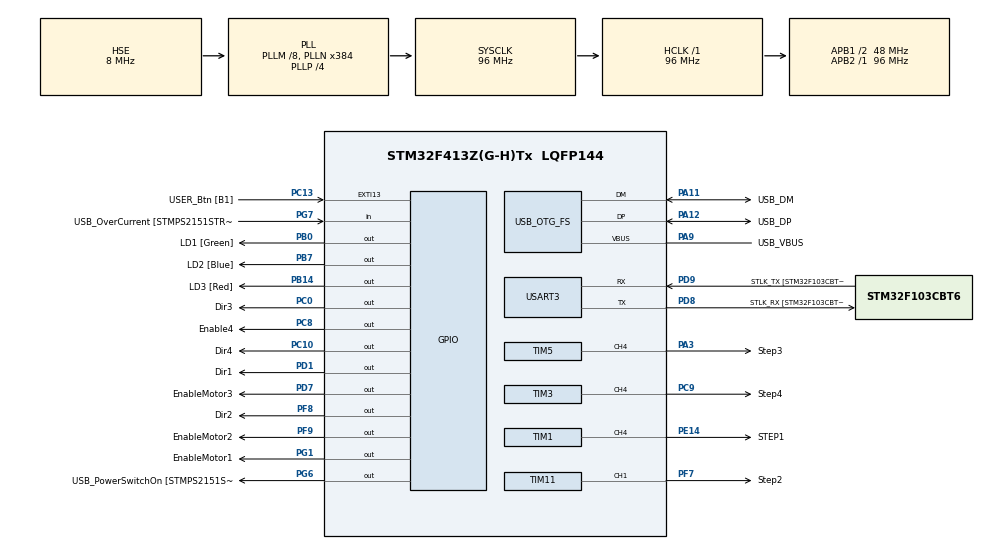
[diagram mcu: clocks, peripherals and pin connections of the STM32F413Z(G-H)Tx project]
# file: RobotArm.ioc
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FREERTOS.Events01=stepperTrigger,Dynamic,NULL
FREERTOS.Queues01=rxQueue,16,uint16_t,0,Dynamic,NULL,NULL;gamepadChangesQueue,32,int,0,Dynamic,NULL,NULL
FREERTOS.Tasks01=defaultTask,24,1024,StartDefaultTask,Default,NULL,Dynamic,NULL,NULL;UartRx,8,128,uartRxDataManagement,Default,NULL,Dynamic,NULL,NULL;controlMotor1,8,128,controlMotor1Task,Default,NULL,Dynamic,NULL,NULL;controlMotor2,8,128,controlMotor2Task,Default,NULL,Dynamic,NULL,NULL;controlMotor3,8,128,controlMotor3Task,Default,NULL,Dynamic,NULL,NULL;controlMotor4,8,128,controlMotor4Task,Default,NULL,Dynamic,NULL,NULL;inputChangeTask,8,128,StartInputChangeTask,Default,NULL,Dynamic,NULL,NULL
FREERTOS.configUSE_NEWLIB_REENTRANT=1
Mcu.Family=STM32F4
Mcu.Name=STM32F413Z(G-H)Tx
Mcu.Package=LQFP144
NVIC.OTG_FS_IRQn=true\:6\:0\:true\:false\:true\:true\:false\:true\:true
NVIC.PriorityGroup=NVIC_PRIORITYGROUP_4
NVIC.TIM1_TRG_COM_TIM11_IRQn=true\:5\:0\:false\:false\:true\:true\:true\:true\:true
NVIC.TIM2_IRQn=true\:15\:0\:false\:false\:true\:false\:false\:true\:true
NVIC.TIM3_IRQn=true\:5\:0\:false\:false\:true\:true\:true\:true\:true
NVIC.TIM5_IRQn=true\:5\:0\:false\:false\:true\:true\:true\:true\:true
NVIC.TimeBase=TIM2_IRQn
NVIC.TimeBaseIP=TIM2
NVIC.USART3_IRQn=true\:5\:0\:false\:false\:true\:true\:true\:true\:true
PA10.GPIO_Label=USB_ID
PA10.Signal=USB_OTG_FS_ID
PA11.GPIO_Label=USB_DM
PA11.Mode=Host_Only
PA11.Signal=USB_OTG_FS_DM
PA12.GPIO_Label=USB_DP
PA12.Mode=Host_Only
PA12.Signal=USB_OTG_FS_DP
PA13.GPIO_Label=TMS
PA13.Mode=Serial_Wire
PA13.Signal=SYS_JTMS-SWDIO
PA14.GPIO_Label=TCK
PA14.Mode=Serial_Wire
PA14.Signal=SYS_JTCK-SWCLK
PA3.GPIO_Label=Step3
PA3.Signal=S_TIM5_CH4
PA8.GPIO_Label=USB_SOF [TP1]
PA8.Signal=USB_OTG_FS_SOF
PA9.GPIO_Label=USB_VBUS
PA9.Mode=Activate_VBUS
PA9.Signal=USB_OTG_FS_VBUS
PB0.GPIO_Label=LD1 [Green]
PB0.Signal=GPIO_Output
PB14.GPIO_Label=LD3 [Red]
PB14.Signal=GPIO_Output
PB3.GPIO_Label=SWO
PB3.Signal=SYS_JTDO-SWO
PB7.GPIO_Label=LD2 [Blue]
PB7.Signal=GPIO_Output
PC0.GPIO_Label=Dir3
PC0.Signal=GPIO_Output
PC10.GPIO_Label=Dir4
PC10.Signal=GPIO_Output
PC13.GPIO_Label=USER_Btn [B1]
PC13.Signal=GPXTI13
PC14-OSC32_IN.Mode=LSE-External-Oscillator
PC14-OSC32_IN.Signal=RCC_OSC32_IN
PC15-OSC32_OUT.Mode=LSE-External-Oscillator
PC15-OSC32_OUT.Signal=RCC_OSC32_OUT
PC8.GPIO_Label=Enable4
PC8.Signal=GPIO_Output
PC9.GPIO_Label=Step4
PC9.Signal=S_TIM3_CH4
PD1.GPIO_Label=Dir1
PD1.Signal=GPIO_Output
PD7.GPIO_Label=EnableMotor3
PD7.Signal=GPIO_Output
PD8.GPIO_Label=STLK_RX [STM32F103CBT6_PA3]
PD8.Mode=Asynchronous
PD8.Signal=USART3_TX
PD9.GPIO_Label=STLK_TX [STM32F103CBT6_PA2]
PD9.Mode=Asynchronous
PD9.Signal=USART3_RX
PE14.GPIO_Label=STEP1
PE14.Signal=S_TIM1_CH4
PF7.GPIO_Label=Step2
PF7.Signal=S_TIM11_CH1
PF8.GPIO_Label=Dir2
PF8.Signal=GPIO_Output
PF9.GPIO_Label=EnableMotor2
PF9.Signal=GPIO_Output
PG1.GPIO_Label=EnableMotor1
PG1.Signal=GPIO_Output
PG6.GPIO_Label=USB_PowerSwitchOn [STMPS2151STR_EN]
PG6.Signal=GPIO_Output
PG7.GPIO_Label=USB_OverCurrent [STMPS2151STR_FAULT]
PG7.Signal=GPIO_Input
PH0\ -\ OSC_IN.GPIO_Label=MCO
PH0\ -\ OSC_IN.Mode=HSE-External-Clock-Source
PH0\ -\ OSC_IN.Signal=RCC_OSC_IN
PH1\ -\ OSC_OUT.Mode=HSE-External-Clock-Source
PH1\ -\ OSC_OUT.Signal=RCC_OSC_OUT
ProjectManager.HeapSize=0x200
ProjectManager.StackSize=0x400
ProjectManager.TargetToolchain=STM32CubeIDE
RCC.48MHZClocksFreq_Value=24000000
RCC.AHBFreq_Value=96000000
RCC.APB1CLKDivider=RCC_HCLK_DIV2
RCC.APB1Freq_Value=48000000
RCC.APB1TimFreq_Value=96000000
RCC.APB2Freq_Value=96000000
RCC.APB2TimFreq_Value=96000000
RCC.CortexFreq_Value=96000000
RCC.HCLKFreq_Value=96000000
RCC.HSE_VALUE=8000000
RCC.HSI_VALUE=16000000
RCC.PLLM=8
RCC.PLLMUL=RCC_PLL_MUL9
RCC.PLLN=384
RCC.PLLP=RCC_PLLP_DIV4
RCC.PLLQ=8
RCC.PRESCALERUSB=RCC_USBCLKSOURCE_PLL_DIV1_5
RCC.SYSCLKFreq_VALUE=96000000
RCC.SYSCLKSource=RCC_SYSCLKSOURCE_PLLCLK
RCC.SYSCLKSourceVirtual=RCC_SYSCLKSOURCE_PLLCLK
RCC.USBFreq_Value=48000000
RCC.VCOOutputFreq_Value=384000000
SH.S_TIM11_CH1.0=TIM11_CH1,PWM Generation1 CH1
SH.S_TIM1_CH4.0=TIM1_CH4,PWM Generation4 CH4
SH.S_TIM3_CH4.0=TIM3_CH4,PWM Generation4 CH4
SH.S_TIM5_CH4.0=TIM5_CH4,PWM Generation4 CH4
TIM1.Channel-PWM\ Generation4\ CH4=TIM_CHANNEL_4
TIM1.Period=2042
TIM1.Prescaler=47
TIM1.Pulse-PWM\ Generation4\ CH4=1024
TIM11.Channel=TIM_CHANNEL_1
TIM11.Period=2042
TIM11.Prescaler=47
TIM11.Pulse=1021
TIM3.Channel-PWM\ Generation4\ CH4=TIM_CHANNEL_4
TIM3.Period=2042
TIM3.Prescaler=47
TIM3.Pulse-PWM\ Generation4\ CH4=1021
TIM5.Channel-PWM\ Generation4\ CH4=TIM_CHANNEL_4
TIM5.Period=20000
TIM5.Prescaler=47
TIM5.Pulse-PWM\ Generation4\ CH4=10000
USART3.OverSampling=UART_OVERSAMPLING_16
USART3.VirtualMode=VM_ASYNC
USB_HOST.BSP.number=1
USB_HOST.USBH_HandleTypeDef=hUsbHostFS
USB_HOST.USBH_PROCESS_STACK_SIZE=512
USB_HOST.VirtualModeFS=Hid
USB_HOST0.BSP.STBoard=false
USB_HOST0.BSP.api=Unknown
USB_HOST0.BSP.condition=SW_VBUS_DRIVE_HID_FS \= false
USB_HOST0.BSP.instance=PG6
USB_HOST0.BSP.ip=GPIO
USB_HOST0.BSP.mode=Output
USB_HOST0.BSP.name=Drive_VBUS_FS
USB_HOST0.BSP.solution=PG6
USB_OTG_FS.VirtualMode=Host_Only
USB_OTG_FS.phy_itface=HCD_PHY_EMBEDDED
VP_FREERTOS_VS_CMSIS_V2.Mode=CMSIS_V2
VP_SYS_VS_tim2.Mode=TIM2
VP_TIM11_VS_ClockSourceINT.Mode=Enable_Timer
VP_TIM3_VS_ClockSourceINT.Mode=Internal
VP_TIM5_VS_ClockSourceINT.Mode=Internal
VP_USB_HOST_VS_USB_HOST_HID_FS.Mode=HID_FS
board=NUCLEO-F413ZH

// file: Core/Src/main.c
/* USER CODE BEGIN Header */
/**
 ******************************************************************************
 * @file           : main.c
 * @brief          : Main program body
 ******************************************************************************
 * @attention
 *
 * Copyright (c) 2024 STMicroelectronics.
 * All rights reserved.
 *
 * This software is licensed under terms that can be found in the LICENSE file
 * in the root directory of this software component.
 * If no LICENSE file comes with this software, it is provided AS-IS.
 *
 ******************************************************************************
 */
/* USER CODE END Header */
#include "main.h"
#include "cmsis_os.h"
#include "usb_host.h"

/* USER CODE BEGIN Includes */
#include "usbh_hid.h"
/* USER CODE END Includes */

/* USER CODE BEGIN PD */
#define MANUALCONTROL 1 //Define si el programa se encargara de controlar el brazo, o habra control manual
#define MANUALCONTROLTYPE 0 //Define si usar control manual (por gamepad) (0), remoto (por uart)(1)

/* USER CODE END PD */

TIM_HandleTypeDef htim1;
TIM_HandleTypeDef htim3;
TIM_HandleTypeDef htim5;
TIM_HandleTypeDef htim11;

UART_HandleTypeDef huart3;

/* Definitions for defaultTask */
osThreadId_t defaultTaskHandle;
const osThreadAttr_t defaultTask_attributes = { .name = "defaultTask",
		.stack_size = 1024 * 4, .priority = (osPriority_t) osPriorityNormal, };
/* Definitions for UartRx */
osThreadId_t UartRxHandle;
const osThreadAttr_t UartRx_attributes = { .name = "UartRx", .stack_size = 128
		* 4, .priority = (osPriority_t) osPriorityLow, };
/* Definitions for controlMotor1 */
osThreadId_t controlMotor1Handle;
const osThreadAttr_t controlMotor1_attributes = { .name = "controlMotor1",
		.stack_size = 128 * 4, .priority = (osPriority_t) osPriorityLow, };
/* Definitions for controlMotor2 */
osThreadId_t controlMotor2Handle;
const osThreadAttr_t controlMotor2_attributes = { .name = "controlMotor2",
		.stack_size = 128 * 4, .priority = (osPriority_t) osPriorityLow, };
/* Definitions for controlMotor3 */
osThreadId_t controlMotor3Handle;
const osThreadAttr_t controlMotor3_attributes = { .name = "controlMotor3",
		.stack_size = 128 * 4, .priority = (osPriority_t) osPriorityLow, };
/* Definitions for controlMotor4 */
osThreadId_t controlMotor4Handle;
const osThreadAttr_t controlMotor4_attributes = { .name = "controlMotor4",
		.stack_size = 128 * 4, .priority = (osPriority_t) osPriorityLow, };
/* Definitions for inputChangeTask */
osThreadId_t inputChangeTaskHandle;
const osThreadAttr_t inputChangeTask_attributes = { .name = "inputChangeTask",
		.stack_size = 128 * 4, .priority = (osPriority_t) osPriorityLow, };
/* Definitions for rxQueue */
osMessageQueueId_t rxQueueHandle;
const osMessageQueueAttr_t rxQueue_attributes = { .name = "rxQueue" };
/* Definitions for gamepadChangesQueue */
osMessageQueueId_t gamepadChangesQueueHandle;
const osMessageQueueAttr_t gamepadChangesQueue_attributes = { .name =
		"gamepadChangesQueue" };
/* Definitions for stepperTrigger */
osEventFlagsId_t stepperTriggerHandle;
const osEventFlagsAttr_t stepperTrigger_attributes =
		{ .name = "stepperTrigger" };

void SystemClock_Config(void);
static void MX_GPIO_Init(void);
static void MX_USART3_UART_Init(void);
static void MX_TIM3_Init(void);
static void MX_TIM11_Init(void);
static void MX_TIM5_Init(void);
static void MX_TIM1_Init(void);
void StartDefaultTask(void *argument);
void uartRxDataManagement(void *argument);
void controlMotor1Task(void *argument);
void controlMotor2Task(void *argument);
void controlMotor3Task(void *argument);
void controlMotor4Task(void *argument);
void StartInputChangeTask(void *argument);

/* USER CODE BEGIN 0 */

#define buttonYBit 1
#define buttonBBit 1<<1
#define buttonABit 1<<2
#define buttonXBit 1<<3
#define buttonLBit 1<<4
#define buttonRBit 1<<5
#define buttonZLBit 1<<6
#define buttonZRBit 1<<7
#define buttonMinusBit 1<<8
#define buttonPlusBit 1<<9
#define buttonLJoyStickBit 1<<10
#define buttonRJoyStickBit 1<<11
#define buttonHomeBit 1<<12
#define buttonSelectBit 1<<13

typedef enum {
	CENTER = 0b1111,
	UP = 0b0,
	UPR = 0b1,
	RIGHT = 0b10,
	DOWNR = 0b11,
	DOWN = 0b100,
	DOWNL = 0b101,
	LEFT = 0b110,
	UPL = 0b111
} crossDir;

typedef enum {
	NOEVENT,
	//Hat
	GP_EVENT_DPAD_PRESS_CENTER,

	GP_EVENT_DPAD_PRESS_RIGHT,
	GP_EVENT_DPAD_HOLD_RIGHT,
	GP_EVENT_DPAD_RELEASE_RIGHT,
	GP_EVENT_DPAD_PRESS_LEFT,
	GP_EVENT_DPAD_HOLD_LEFT,
	GP_EVENT_DPAD_RELEASE_LEFT,

	GP_EVENT_DPAD_PRESS_UP,
	GP_EVENT_DPAD_HOLD_UP,
	GP_EVENT_DPAD_RELEASE_UP,
	GP_EVENT_DPAD_PRESS_DOWN,
	GP_EVENT_DPAD_HOLD_DOWN,
	GP_EVENT_DPAD_RELEASE_DOWN,

	//Buttons
	GP_EVENT_PRESS_A,
	GP_EVENT_HOLD_A,
	GP_EVENT_RELEASE_A,

	GP_EVENT_PRESS_B,
	GP_EVENT_HOLD_B,
	GP_EVENT_RELEASE_B,

	GP_EVENT_PRESS_X,
	GP_EVENT_HOLD_X,
	GP_EVENT_RELEASE_X,

	GP_EVENT_PRESS_Y,
	GP_EVENT_HOLD_Y,
	GP_EVENT_RELEASE_Y,

	GP_EVENT_PRESS_L,
	GP_EVENT_HOLD_L,
	GP_EVENT_RELEASE_L,

	GP_EVENT_PRESS_R,
	GP_EVENT_HOLD_R,
	GP_EVENT_RELEASE_R,

	GP_EVENT_PRESS_ZL,
	GP_EVENT_HOLD_ZL,
	GP_EVENT_RELEASE_ZL,

	GP_EVENT_PRESS_ZR,
	GP_EVENT_HOLD_ZR,
	GP_EVENT_RELEASE_ZR,

	GP_EVENT_PRESS_PLUS,
	GP_EVENT_HOLD_PLUS,
	GP_EVENT_RELEAS_PLUS,

	GP_EVENT_PRESS_MINUS,
	GP_EVENT_HOLD_MINUS,
	GP_EVENT_RELEASE_MINUS,

	GP_EVENT_PRESS_HOME,
	GP_EVENT_HOLD_HOME,
	GP_EVENT_RELEASE_HOME,

	GP_EVENT_PRESS_SELECT,
	GP_EVENT_HOLD_SELECT,
	GP_EVENT_RELEASE_SELECT,

	GP_EVENT_PRESS_JL,
	GP_EVENT_HOLD_JL,
	GP_EVENT_RELEASE_JL,

	GP_EVENT_PRESS_JR,
	GP_EVENT_HOLD_JR,
	GP_EVENT_RELEASE_JR,

	//Joysticks
	GP_EVENT_LJS_PRESS_CENTER,

	GP_EVENT_LJS_PRESS_RIGHT,
	GP_EVENT_LJS_HOLD_RIGHT,
	GP_EVENT_LJS_RELEASE_RIGHT,
	GP_EVENT_LJS_PRESS_LEFT,
	GP_EVENT_LJS_HOLD_LEFT,
	GP_EVENT_LJS_RELEASE_LEFT,

	GP_EVENT_LJS_PRESS_UP,
	GP_EVENT_LJS_HOLD_UP,
	GP_EVENT_LJS_RELEASE_UP,
	GP_EVENT_LJS_PRESS_DOWN,
	GP_EVENT_LJS_HOLD_DOWN,
	GP_EVENT_LJS_RELEASE_DOWN,

	GP_EVENT_RJS_PRESS_CENTER,

	GP_EVENT_RJS_PRESS_RIGHT,
	GP_EVENT_RJS_HOLD_RIGHT,
	GP_EVENT_RJS_RELEASE_RIGHT,
	GP_EVENT_RJS_PRESS_LEFT,
	GP_EVENT_RJS_HOLD_LEFT,
	GP_EVENT_RJS_RELEASE_LEFT,

	GP_EVENT_RJS_PRESS_UP,
	GP_EVENT_RJS_HOLD_UP,
	GP_EVENT_RJS_RELEASE_UP,
	GP_EVENT_RJS_PRESS_DOWN,
	GP_EVENT_RJS_HOLD_DOWN,
	GP_EVENT_RJS_RELEASE_DOWN,

} gamepadEvents;

typedef struct {
	crossDir dir;
	int16_t buttons, joyStickLX, joyStickLY, joyStickRX, joyStickRY;
} GamepadReport;
GamepadReport currentReport, previousReport;

void USBH_HID_EventCallback(USBH_HandleTypeDef *phost) {
	uint8_t report[64];
	uint16_t len = USBH_HID_GetReportData(phost, report, sizeof(report));
	if (len > 0) {
		currentReport.dir = report[2];
		currentReport.buttons = (uint16_t) report[0]
				| ((uint16_t) report[1] << 8);
		currentReport.joyStickLX = (int8_t) ((int16_t) report[3] - 128);
		currentReport.joyStickLY = (int8_t) ((int16_t) report[4] - 128);
		currentReport.joyStickRX = (int8_t) ((int16_t) report[5] - 128);
		currentReport.joyStickRY = (int8_t) ((int16_t) report[6] - 128);

		//COMPROBAR LAS DIFERENCIAS Y ENCOLARLAS
		checkDifferencesInJoySticks();
		memcpy(&previousReport, &currentReport, sizeof(previousReport));
	}

}

void pushEventIntoQueue(gamepadEvents event, uint32_t timeout) {
	//El timeout la pongo como parametro para que eventos importantes no se dejen atras
	osMessageQueuePut(gamepadChangesQueueHandle, &event, 4, timeout);
}

void checkDifferencesInJoySticks() {
	//Joystick izq, eje X
	int currDir = (currentReport.joyStickLX > 0)
			- (currentReport.joyStickLX < 0); // 1=der, 0= centro, -1=izq
	int previousDir = (previousReport.joyStickLX > 0)
			- (previousReport.joyStickLX < 0);

	if (currDir == 1 && previousDir != 1)
		pushEventIntoQueue(GP_EVENT_LJS_PRESS_RIGHT, 0);
//	if(currDir == 1 && previousDir == 1) pushEventIntoQueue(GP_EVENT_LJS_HOLD_RIGHT, 0);
	if (currDir != 1 && previousDir == 1)
		pushEventIntoQueue(GP_EVENT_LJS_RELEASE_RIGHT, 0);

	if (currDir == -1 && previousDir != -1)
		pushEventIntoQueue(GP_EVENT_LJS_PRESS_LEFT, 0);
//	if(currDir == -1 && previousDir == -1) pushEventIntoQueue(GP_EVENT_LJS_HOLD_LEFT, 0);
	if (currDir != -1 && previousDir == -1)
		pushEventIntoQueue(GP_EVENT_LJS_RELEASE_LEFT, 0);
	//******************************************************************
	//Boton ZL para arranque y apagado motor 4
	if (currentReport.buttons & buttonZLBit
			&& !(previousReport.buttons & buttonZLBit))
		pushEventIntoQueue(GP_EVENT_PRESS_ZL, 0);
	if (!(currentReport.buttons & buttonZLBit)
			&& previousReport.buttons & buttonZLBit)
		pushEventIntoQueue(GP_EVENT_RELEASE_ZL, 0);
	//******************************************************************
	//Boton L para arranque y apagado motor 2
	if (currentReport.buttons & buttonLBit
			&& !(previousReport.buttons & buttonLBit))
		pushEventIntoQueue(GP_EVENT_PRESS_L, 0);
	if (!(currentReport.buttons & buttonLBit)
			&& previousReport.buttons & buttonLBit)
		pushEventIntoQueue(GP_EVENT_RELEASE_L, 0);
	//******************************************************************
	//Boton R para arranque y apagado motor 3
	if (currentReport.buttons & buttonRBit
			&& !(previousReport.buttons & buttonRBit))
		pushEventIntoQueue(GP_EVENT_PRESS_R, 0);
	if (!(currentReport.buttons & buttonRBit)
			&& previousReport.buttons & buttonRBit)
		pushEventIntoQueue(GP_EVENT_RELEASE_R, 0);
	//******************************************************************
	//Boton ZR para arranque y apagado motor 1
	if (currentReport.buttons & buttonZRBit
			&& !(previousReport.buttons & buttonZRBit))
		pushEventIntoQueue(GP_EVENT_PRESS_ZR, 0);
	if (!(currentReport.buttons & buttonZRBit)
			&& previousReport.buttons & buttonZRBit)
		pushEventIntoQueue(GP_EVENT_RELEASE_ZR, 0);
	//******************************************************************
	//Joystick izq, eje Y
	currDir = (currentReport.joyStickLY > 0) - (currentReport.joyStickLY < 0); // 1=arriba, 0= centro, -1=abajo
	previousDir = (previousReport.joyStickLY > 0)
			- (previousReport.joyStickLY < 0);

	if (currDir == 1 && previousDir != 1)
		pushEventIntoQueue(GP_EVENT_LJS_PRESS_UP, 0);
//	if(currDir == 1 && previousDir == 1) pushEventIntoQueue(GP_EVENT_LJS_HOLD_UP, 0);
	if (currDir != 1 && previousDir == 1)
		pushEventIntoQueue(GP_EVENT_LJS_RELEASE_UP, 0);

	if (currDir == -1 && previousDir != -1)
		pushEventIntoQueue(GP_EVENT_LJS_PRESS_DOWN, 0);
//	if(currDir == -1 && previousDir == -1) pushEventIntoQueue(GP_EVENT_LJS_HOLD_DOWN, 0);
	if (currDir != -1 && previousDir == -1)
		pushEventIntoQueue(GP_EVENT_LJS_RELEASE_DOWN, 0);
	//******************************************************************
	//Joystick der, eje Y
	currDir = (currentReport.joyStickRY > 0) - (currentReport.joyStickRY < 0); // 1=arriba, 0= centro, -1=abajo
	previousDir = (previousReport.joyStickRY > 0)
			- (previousReport.joyStickRY < 0);

	if (currDir == 1 && previousDir != 1)
		pushEventIntoQueue(GP_EVENT_RJS_PRESS_UP, 0);
//	if(currDir == 1 && previousDir == 1) pushEventIntoQueue(GP_EVENT_RJS_HOLD_UP, 0);
	if (currDir != 1 && previousDir == 1)
		pushEventIntoQueue(GP_EVENT_RJS_RELEASE_UP, 0);

	if (currDir == -1 && previousDir != -1)
		pushEventIntoQueue(GP_EVENT_RJS_PRESS_DOWN, 0);
//	if(currDir == -1 && previousDir == -1) pushEventIntoQueue(GP_EVENT_RJS_HOLD_DOWN, 0);
	if (currDir != -1 && previousDir == -1)
		pushEventIntoQueue(GP_EVENT_RJS_RELEASE_DOWN, 0);

	//******************************************************************
	//DPAD, eje Y
	currDir = (currentReport.dir == UP || currentReport.dir == UPR
			|| currentReport.dir == UPL)
			- (currentReport.dir == DOWN || currentReport.dir == DOWNR
					|| currentReport.dir == DOWNL);
	previousDir = (previousReport.dir == UP || previousReport.dir == UPR
			|| previousReport.dir == UPL)
			- (previousReport.dir == DOWN || previousReport.dir == DOWNR
					|| previousReport.dir == DOWNL);

	if (currDir == 1 && previousDir != 1)
		pushEventIntoQueue(GP_EVENT_DPAD_PRESS_UP, 0);
	if (currDir != 1 && previousDir == 1)
		pushEventIntoQueue(GP_EVENT_DPAD_RELEASE_UP, 0);

	if (currDir == -1 && previousDir != -1)
		pushEventIntoQueue(GP_EVENT_DPAD_PRESS_DOWN, 0);
	if (currDir != -1 && previousDir == -1)
		pushEventIntoQueue(GP_EVENT_DPAD_RELEASE_DOWN, 0);
}

/* USER CODE END 0 */

int main(void) {

	/* MCU Configuration--------------------------------------------------------*/

	/* Reset of all peripherals, Initializes the Flash interface and the Systick. */
	HAL_Init();

	/* Configure the system clock */
	SystemClock_Config();

	/* Initialize all configured peripherals */
	MX_GPIO_Init();
	MX_USART3_UART_Init();
	MX_TIM3_Init();
	MX_TIM11_Init();
	MX_TIM5_Init();
	MX_TIM1_Init();

	/* Init scheduler */
	osKernelInitialize();

	/* Create the queue(s) */
	/* creation of rxQueue */
	rxQueueHandle = osMessageQueueNew(16, sizeof(uint16_t),
			&rxQueue_attributes);

	/* creation of gamepadChangesQueue */
	gamepadChangesQueueHandle = osMessageQueueNew(32, sizeof(int),
			&gamepadChangesQueue_attributes);

	/* Create the thread(s) */
	/* creation of defaultTask */
	defaultTaskHandle = osThreadNew(StartDefaultTask, NULL,
			&defaultTask_attributes);

	/* creation of UartRx */
	UartRxHandle = osThreadNew(uartRxDataManagement, NULL, &UartRx_attributes);

	/* creation of controlMotor1 */
	controlMotor1Handle = osThreadNew(controlMotor1Task, NULL,
			&controlMotor1_attributes);

	/* creation of controlMotor2 */
	controlMotor2Handle = osThreadNew(controlMotor2Task, NULL,
			&controlMotor2_attributes);

	/* creation of controlMotor3 */
	controlMotor3Handle = osThreadNew(controlMotor3Task, NULL,
			&controlMotor3_attributes);

	/* creation of controlMotor4 */
	controlMotor4Handle = osThreadNew(controlMotor4Task, NULL,
			&controlMotor4_attributes);

	/* creation of inputChangeTask */
	inputChangeTaskHandle = osThreadNew(StartInputChangeTask, NULL,
			&inputChangeTask_attributes);

	/* Create the event(s) */
	/* creation of stepperTrigger */
	stepperTriggerHandle = osEventFlagsNew(&stepperTrigger_attributes);

	/* Start scheduler */
	osKernelStart();

	/* We should never get here as control is now taken by the scheduler */

	/* Infinite loop */
	while (1) {

	}
}

void SystemClock_Config(void) {
	RCC_OscInitTypeDef RCC_OscInitStruct = { 0 };
	RCC_ClkInitTypeDef RCC_ClkInitStruct = { 0 };

	/** Configure the main internal regulator output voltage
	 */
	__HAL_RCC_PWR_CLK_ENABLE();
	__HAL_PWR_VOLTAGESCALING_CONFIG(PWR_REGULATOR_VOLTAGE_SCALE1);

	/** Initializes the RCC Oscillators according to the specified parameters
	 * in the RCC_OscInitTypeDef structure.
	 */
	RCC_OscInitStruct.OscillatorType = RCC_OSCILLATORTYPE_HSE;
	RCC_OscInitStruct.HSEState = RCC_HSE_BYPASS;
	RCC_OscInitStruct.PLL.PLLState = RCC_PLL_ON;
	RCC_OscInitStruct.PLL.PLLSource = RCC_PLLSOURCE_HSE;
	RCC_OscInitStruct.PLL.PLLM = 8;
	RCC_OscInitStruct.PLL.PLLN = 384;
	RCC_OscInitStruct.PLL.PLLP = RCC_PLLP_DIV4;
	RCC_OscInitStruct.PLL.PLLQ = 8;
	RCC_OscInitStruct.PLL.PLLR = 2;
	if (HAL_RCC_OscConfig(&RCC_OscInitStruct) != HAL_OK) {
		Error_Handler();
	}

	/** Initializes the CPU, AHB and APB buses clocks
	 */
	RCC_ClkInitStruct.ClockType = RCC_CLOCKTYPE_HCLK | RCC_CLOCKTYPE_SYSCLK
			| RCC_CLOCKTYPE_PCLK1 | RCC_CLOCKTYPE_PCLK2;
	RCC_ClkInitStruct.SYSCLKSource = RCC_SYSCLKSOURCE_PLLCLK;
	RCC_ClkInitStruct.AHBCLKDivider = RCC_SYSCLK_DIV1;
	RCC_ClkInitStruct.APB1CLKDivider = RCC_HCLK_DIV2;
	RCC_ClkInitStruct.APB2CLKDivider = RCC_HCLK_DIV1;

	if (HAL_RCC_ClockConfig(&RCC_ClkInitStruct, FLASH_LATENCY_3) != HAL_OK) {
		Error_Handler();
	}
}

static void MX_TIM1_Init(void) {

	TIM_MasterConfigTypeDef sMasterConfig = { 0 };
	TIM_OC_InitTypeDef sConfigOC = { 0 };
	TIM_BreakDeadTimeConfigTypeDef sBreakDeadTimeConfig = { 0 };

	htim1.Instance = TIM1;
	htim1.Init.Prescaler = 47;
	htim1.Init.CounterMode = TIM_COUNTERMODE_UP;
	htim1.Init.Period = 2042;
	htim1.Init.ClockDivision = TIM_CLOCKDIVISION_DIV1;
	htim1.Init.RepetitionCounter = 0;
	htim1.Init.AutoReloadPreload = TIM_AUTORELOAD_PRELOAD_DISABLE;
	if (HAL_TIM_PWM_Init(&htim1) != HAL_OK) {
		Error_Handler();
	}
	sMasterConfig.MasterOutputTrigger = TIM_TRGO_RESET;
	sMasterConfig.MasterSlaveMode = TIM_MASTERSLAVEMODE_DISABLE;
	if (HAL_TIMEx_MasterConfigSynchronization(&htim1, &sMasterConfig)
			!= HAL_OK) {
		Error_Handler();
	}
	sConfigOC.OCMode = TIM_OCMODE_PWM1;
	sConfigOC.Pulse = 1024;
	sConfigOC.OCPolarity = TIM_OCPOLARITY_HIGH;
	sConfigOC.OCFastMode = TIM_OCFAST_DISABLE;
	sConfigOC.OCIdleState = TIM_OCIDLESTATE_RESET;
	sConfigOC.OCNIdleState = TIM_OCNIDLESTATE_RESET;
	if (HAL_TIM_PWM_ConfigChannel(&htim1, &sConfigOC, TIM_CHANNEL_4)
			!= HAL_OK) {
		Error_Handler();
	}
	sBreakDeadTimeConfig.OffStateRunMode = TIM_OSSR_DISABLE;
	sBreakDeadTimeConfig.OffStateIDLEMode = TIM_OSSI_DISABLE;
	sBreakDeadTimeConfig.LockLevel = TIM_LOCKLEVEL_OFF;
	sBreakDeadTimeConfig.DeadTime = 0;
	sBreakDeadTimeConfig.BreakState = TIM_BREAK_DISABLE;
	sBreakDeadTimeConfig.BreakPolarity = TIM_BREAKPOLARITY_HIGH;
	sBreakDeadTimeConfig.AutomaticOutput = TIM_AUTOMATICOUTPUT_DISABLE;
	if (HAL_TIMEx_ConfigBreakDeadTime(&htim1, &sBreakDeadTimeConfig)
			!= HAL_OK) {
		Error_Handler();
	}
	HAL_TIM_MspPostInit(&htim1);

}

static void MX_TIM3_Init(void) {

	TIM_ClockConfigTypeDef sClockSourceConfig = { 0 };
	TIM_MasterConfigTypeDef sMasterConfig = { 0 };
	TIM_OC_InitTypeDef sConfigOC = { 0 };

	htim3.Instance = TIM3;
	htim3.Init.Prescaler = 47;
	htim3.Init.CounterMode = TIM_COUNTERMODE_UP;
	htim3.Init.Period = 2042;
	htim3.Init.ClockDivision = TIM_CLOCKDIVISION_DIV1;
	htim3.Init.AutoReloadPreload = TIM_AUTORELOAD_PRELOAD_DISABLE;
	if (HAL_TIM_Base_Init(&htim3) != HAL_OK) {
		Error_Handler();
	}
	sClockSourceConfig.ClockSource = TIM_CLOCKSOURCE_INTERNAL;
	if (HAL_TIM_ConfigClockSource(&htim3, &sClockSourceConfig) != HAL_OK) {
		Error_Handler();
	}
	if (HAL_TIM_PWM_Init(&htim3) != HAL_OK) {
		Error_Handler();
	}
	sMasterConfig.MasterOutputTrigger = TIM_TRGO_RESET;
	sMasterConfig.MasterSlaveMode = TIM_MASTERSLAVEMODE_DISABLE;
	if (HAL_TIMEx_MasterConfigSynchronization(&htim3, &sMasterConfig)
			!= HAL_OK) {
		Error_Handler();
	}
	sConfigOC.OCMode = TIM_OCMODE_PWM1;
	sConfigOC.Pulse = 1021;
	sConfigOC.OCPolarity = TIM_OCPOLARITY_HIGH;
	sConfigOC.OCFastMode = TIM_OCFAST_DISABLE;
	if (HAL_TIM_PWM_ConfigChannel(&htim3, &sConfigOC, TIM_CHANNEL_4)
			!= HAL_OK) {
		Error_Handler();
	}
	HAL_TIM_MspPostInit(&htim3);

}

static void MX_TIM5_Init(void) {

	TIM_ClockConfigTypeDef sClockSourceConfig = { 0 };
	TIM_MasterConfigTypeDef sMasterConfig = { 0 };
	TIM_OC_InitTypeDef sConfigOC = { 0 };

	htim5.Instance = TIM5;
	htim5.Init.Prescaler = 47;
	htim5.Init.CounterMode = TIM_COUNTERMODE_UP;
	htim5.Init.Period = 20000;
	htim5.Init.ClockDivision = TIM_CLOCKDIVISION_DIV1;
	htim5.Init.AutoReloadPreload = TIM_AUTORELOAD_PRELOAD_DISABLE;
	if (HAL_TIM_Base_Init(&htim5) != HAL_OK) {
		Error_Handler();
	}
	sClockSourceConfig.ClockSource = TIM_CLOCKSOURCE_INTERNAL;
	if (HAL_TIM_ConfigClockSource(&htim5, &sClockSourceConfig) != HAL_OK) {
		Error_Handler();
	}
	if (HAL_TIM_PWM_Init(&htim5) != HAL_OK) {
		Error_Handler();
	}
	sMasterConfig.MasterOutputTrigger = TIM_TRGO_RESET;
	sMasterConfig.MasterSlaveMode = TIM_MASTERSLAVEMODE_DISABLE;
	if (HAL_TIMEx_MasterConfigSynchronization(&htim5, &sMasterConfig)
			!= HAL_OK) {
		Error_Handler();
	}
	sConfigOC.OCMode = TIM_OCMODE_PWM1;
	sConfigOC.Pulse = 10000;
	sConfigOC.OCPolarity = TIM_OCPOLARITY_HIGH;
	sConfigOC.OCFastMode = TIM_OCFAST_DISABLE;
	if (HAL_TIM_PWM_ConfigChannel(&htim5, &sConfigOC, TIM_CHANNEL_4)
			!= HAL_OK) {
		Error_Handler();
	}
	HAL_TIM_MspPostInit(&htim5);

}

static void MX_TIM11_Init(void) {

	TIM_OC_InitTypeDef sConfigOC = { 0 };

	htim11.Instance = TIM11;
	htim11.Init.Prescaler = 47;
	htim11.Init.CounterMode = TIM_COUNTERMODE_UP;
	htim11.Init.Period = 2042;
	htim11.Init.ClockDivision = TIM_CLOCKDIVISION_DIV1;
	htim11.Init.AutoReloadPreload = TIM_AUTORELOAD_PRELOAD_DISABLE;
	if (HAL_TIM_Base_Init(&htim11) != HAL_OK) {
		Error_Handler();
	}
	if (HAL_TIM_PWM_Init(&htim11) != HAL_OK) {
		Error_Handler();
	}
	sConfigOC.OCMode = TIM_OCMODE_PWM1;
	sConfigOC.Pulse = 1021;
	sConfigOC.OCPolarity = TIM_OCPOLARITY_HIGH;
	sConfigOC.OCFastMode = TIM_OCFAST_DISABLE;
	if (HAL_TIM_PWM_ConfigChannel(&htim11, &sConfigOC, TIM_CHANNEL_1)
			!= HAL_OK) {
		Error_Handler();
	}
	HAL_TIM_MspPostInit(&htim11);

}

static void MX_USART3_UART_Init(void) {

	huart3.Instance = USART3;
	huart3.Init.BaudRate = 115200;
	huart3.Init.WordLength = UART_WORDLENGTH_8B;
	huart3.Init.StopBits = UART_STOPBITS_1;
	huart3.Init.Parity = UART_PARITY_NONE;
	huart3.Init.Mode = UART_MODE_TX_RX;
	huart3.Init.HwFlowCtl = UART_HWCONTROL_NONE;
	huart3.Init.OverSampling = UART_OVERSAMPLING_16;
	if (HAL_UART_Init(&huart3) != HAL_OK) {
		Error_Handler();
	}

}

static void MX_GPIO_Init(void) {
	GPIO_InitTypeDef GPIO_InitStruct = { 0 };

	/* GPIO Ports Clock Enable */
	__HAL_RCC_GPIOC_CLK_ENABLE();
	__HAL_RCC_GPIOF_CLK_ENABLE();
	__HAL_RCC_GPIOH_CLK_ENABLE();
	__HAL_RCC_GPIOA_CLK_ENABLE();
	__HAL_RCC_GPIOB_CLK_ENABLE();
	__HAL_RCC_GPIOG_CLK_ENABLE();
	__HAL_RCC_GPIOE_CLK_ENABLE();
	__HAL_RCC_GPIOD_CLK_ENABLE();

	/*Configure GPIO pin Output Level */
	HAL_GPIO_WritePin(GPIOF, Dir2_Pin | EnableMotor2_Pin, GPIO_PIN_RESET);

	/*Configure GPIO pin Output Level */
	HAL_GPIO_WritePin(GPIOC, Dir3_Pin | Enable4_Pin | Dir4_Pin, GPIO_PIN_RESET);

	/*Configure GPIO pin Output Level */
	HAL_GPIO_WritePin(GPIOB, LD1_Pin | LD3_Pin | LD2_Pin, GPIO_PIN_RESET);

	/*Configure GPIO pin Output Level */
	HAL_GPIO_WritePin(GPIOG, EnableMotor1_Pin | USB_PowerSwitchOn_Pin,
			GPIO_PIN_RESET);

	/*Configure GPIO pin Output Level */
	HAL_GPIO_WritePin(GPIOD, Dir1_Pin | EnableMotor3_Pin, GPIO_PIN_RESET);

	/*Configure GPIO pin : USER_Btn_Pin */
	GPIO_InitStruct.Pin = USER_Btn_Pin;
	GPIO_InitStruct.Mode = GPIO_MODE_IT_RISING;
	GPIO_InitStruct.Pull = GPIO_NOPULL;
	HAL_GPIO_Init(USER_Btn_GPIO_Port, &GPIO_InitStruct);

	/*Configure GPIO pins : Dir2_Pin EnableMotor2_Pin */
	GPIO_InitStruct.Pin = Dir2_Pin | EnableMotor2_Pin;
	GPIO_InitStruct.Mode = GPIO_MODE_OUTPUT_PP;
	GPIO_InitStruct.Pull = GPIO_NOPULL;
	GPIO_InitStruct.Speed = GPIO_SPEED_FREQ_LOW;
	HAL_GPIO_Init(GPIOF, &GPIO_InitStruct);

	/*Configure GPIO pins : Dir3_Pin Enable4_Pin Dir4_Pin */
	GPIO_InitStruct.Pin = Dir3_Pin | Enable4_Pin | Dir4_Pin;
	GPIO_InitStruct.Mode = GPIO_MODE_OUTPUT_PP;
	GPIO_InitStruct.Pull = GPIO_NOPULL;
	GPIO_InitStruct.Speed = GPIO_SPEED_FREQ_LOW;
	HAL_GPIO_Init(GPIOC, &GPIO_InitStruct);

	/*Configure GPIO pins : LD1_Pin LD3_Pin LD2_Pin */
	GPIO_InitStruct.Pin = LD1_Pin | LD3_Pin | LD2_Pin;
	GPIO_InitStruct.Mode = GPIO_MODE_OUTPUT_PP;
	GPIO_InitStruct.Pull = GPIO_NOPULL;
	GPIO_InitStruct.Speed = GPIO_SPEED_FREQ_LOW;
	HAL_GPIO_Init(GPIOB, &GPIO_InitStruct);

	/*Configure GPIO pins : EnableMotor1_Pin USB_PowerSwitchOn_Pin */
	GPIO_InitStruct.Pin = EnableMotor1_Pin | USB_PowerSwitchOn_Pin;
	GPIO_InitStruct.Mode = GPIO_MODE_OUTPUT_PP;
	GPIO_InitStruct.Pull = GPIO_NOPULL;
	GPIO_InitStruct.Speed = GPIO_SPEED_FREQ_LOW;
	HAL_GPIO_Init(GPIOG, &GPIO_InitStruct);

	/*Configure GPIO pin : USB_OverCurrent_Pin */
	GPIO_InitStruct.Pin = USB_OverCurrent_Pin;
	GPIO_InitStruct.Mode = GPIO_MODE_INPUT;
	GPIO_InitStruct.Pull = GPIO_NOPULL;
	HAL_GPIO_Init(USB_OverCurrent_GPIO_Port, &GPIO_InitStruct);

	/*Configure GPIO pins : Dir1_Pin EnableMotor3_Pin */
	GPIO_InitStruct.Pin = Dir1_Pin | EnableMotor3_Pin;
	GPIO_InitStruct.Mode = GPIO_MODE_OUTPUT_PP;
	GPIO_InitStruct.Pull = GPIO_NOPULL;
	GPIO_InitStruct.Speed = GPIO_SPEED_FREQ_LOW;
	HAL_GPIO_Init(GPIOD, &GPIO_InitStruct);

}

/* USER CODE BEGIN Header_StartDefaultTask */
#define RX_BUFFER_SIZE 4
#define stepMultiplier 19

unsigned char rxBuffer[RX_BUFFER_SIZE];
int stepsToMakeMotor1 = 0;
int stepsToMakeMotor2 = 0;
int stepsToMakeMotor3 = 0;
int stepsToMakeMotor4 = 0;

/**
 * @brief  Function implementing the defaultTask thread.
 * @param  argument: Not used
 * @retval None
 */

void HAL_UART_RxCpltCallback(UART_HandleTypeDef *huart) {

	osMessageQueuePut(rxQueueHandle, &rxBuffer, 4, 0);
	// Reiniciar la recepción para recibir más datos
	HAL_UART_Receive_IT(&huart3, &rxBuffer, RX_BUFFER_SIZE);
}

/* USER CODE END Header_StartDefaultTask */
void StartDefaultTask(void *argument) {
	/* init code for USB_HOST */
	MX_USB_HOST_Init();
	/* USER CODE BEGIN 5 */
	HAL_UART_Receive_IT(&huart3, &rxBuffer, RX_BUFFER_SIZE);

	/* Infinite loop */
//	HAL_GPIO_WritePin(GPIOG, GPIO_PIN_0, GPIO_PIN_RESET); //Motor1 encendido
	HAL_GPIO_WritePin(GPIOG, GPIO_PIN_1, GPIO_PIN_SET); //Disable motor 1
	HAL_GPIO_WritePin(GPIOF, GPIO_PIN_9, GPIO_PIN_SET); //Disable motor 2
	HAL_GPIO_WritePin(GPIOD, GPIO_PIN_7, GPIO_PIN_SET); //Disable motor 3
	HAL_GPIO_WritePin(GPIOC, GPIO_PIN_8, GPIO_PIN_SET); //Disable motor 4

	for (;;) {
		HAL_GPIO_TogglePin(GPIOB, GPIO_PIN_0);  // Conmutar el estado del LED1
		osDelay(45);

	}
	/* USER CODE END 5 */
}

void uartRxDataManagement(void *argument) {
	/* USER CODE BEGIN uartRxDataManagement */
	/* Infinite loop */
	for (;;) {
		osMessageQueueGet(rxQueueHandle, &rxBuffer, 4, osWaitForever);
		HAL_GPIO_TogglePin(GPIOB, GPIO_PIN_7); // Conmutar el estado del LED2 azul
		if (MANUALCONTROLTYPE) {
			switch (rxBuffer[0]) {
			case 'M': //Mover motor 1
				if (rxBuffer[1])
					stepsToMakeMotor1 += rxBuffer[2] * stepMultiplier; //Dir pos
				else
					stepsToMakeMotor1 -= rxBuffer[2] * stepMultiplier; //Dir neg

				osEventFlagsSet(stepperTriggerHandle, 0x0001U);
				break;

			case 'N': //Mover motor 2
				if (rxBuffer[1])
					stepsToMakeMotor2 += rxBuffer[2] * stepMultiplier; //Dir pos
				else
					stepsToMakeMotor2 -= rxBuffer[2] * stepMultiplier; //Dir neg

				osEventFlagsSet(stepperTriggerHandle, 2);
				break;

			case 'O': //Mover motor 3
				if (rxBuffer[1])
					stepsToMakeMotor3 += rxBuffer[2] * stepMultiplier; //Dir pos
				else
					stepsToMakeMotor3 -= rxBuffer[2] * stepMultiplier; //Dir neg

				osEventFlagsSet(stepperTriggerHandle, 4);
				break;

			case 'P': //Mover motor 4
				if (rxBuffer[1])
					stepsToMakeMotor4 += rxBuffer[2] * stepMultiplier; //Dir pos
				else
					stepsToMakeMotor4 -= rxBuffer[2] * stepMultiplier; //Dir neg

				osEventFlagsSet(stepperTriggerHandle, 8);
				break;

			case 'T': //Encender o apagar motor
				switch (rxBuffer[1]) {
				case 1:
					HAL_GPIO_TogglePin(EnableMotor1_GPIO_Port,
							EnableMotor1_Pin); //Conmutar motor 1
					break;
				case 2:
					HAL_GPIO_TogglePin(EnableMotor2_GPIO_Port,
							EnableMotor2_Pin); //Conmutar motor 2
					break;
				case 3:
					HAL_GPIO_TogglePin(EnableMotor3_GPIO_Port,
							EnableMotor3_Pin); //Conmutar motor 3
					break;
				case 4:
					HAL_GPIO_TogglePin(Enable4_GPIO_Port, Enable4_Pin); //Conmutar motor 4
					break;
				default:
					break;
				}
				break;
			default:
				break;
			}
			rxBuffer[0] = 0;
		}
	}
	/* USER CODE END uartRxDataManagement */
}

/* USER CODE BEGIN Header_controlMotor1Task */
void funcM1() {
	HAL_GPIO_WritePin(LD3_GPIO_Port, LD3_Pin, 1); //Led rojo
	if (stepsToMakeMotor1 > 0) {
		HAL_GPIO_WritePin(Dir1_GPIO_Port, Dir1_Pin, GPIO_PIN_SET);  //Dir pos
		stepsToMakeMotor1--;
	} else if (stepsToMakeMotor1 < 0) {
		HAL_GPIO_WritePin(Dir1_GPIO_Port, Dir1_Pin, GPIO_PIN_RESET);  //Dir neg
		stepsToMakeMotor1++;
	} else {
		HAL_TIM_PWM_Stop_IT(&htim1, TIM_CHANNEL_4); // Detener el PWM
		HAL_GPIO_WritePin(LD3_GPIO_Port, LD3_Pin, 0); //Led rojo
	}
}
/* USER CODE END Header_controlMotor1Task */
void controlMotor1Task(void *argument) {
	/* USER CODE BEGIN controlMotor1Task */
	/* Infinite loop */
	for (;;) {
		osEventFlagsWait(stepperTriggerHandle, 1, osFlagsWaitAny,
		osWaitForever);
		HAL_TIM_PWM_Start_IT(&htim1, TIM_CHANNEL_4);

		osEventFlagsClear(stepperTriggerHandle, 1);
	}
	/* USER CODE END controlMotor1Task */
}

/* USER CODE BEGIN Header_controlMotor2Task */
void funcM2() {
	HAL_GPIO_WritePin(LD3_GPIO_Port, LD3_Pin, 1); //Led rojo
	if (stepsToMakeMotor2 > 0) {
		HAL_GPIO_WritePin(Dir2_GPIO_Port, Dir2_Pin, GPIO_PIN_SET);  //Dir pos
		stepsToMakeMotor2--;
	} else if (stepsToMakeMotor2 < 0) {
		HAL_GPIO_WritePin(Dir2_GPIO_Port, Dir2_Pin, GPIO_PIN_RESET);  //Dir neg
		stepsToMakeMotor2++;
	} else {
		HAL_TIM_PWM_Stop_IT(&htim11, TIM_CHANNEL_1); // Detener el PWM
		HAL_GPIO_WritePin(LD3_GPIO_Port, LD3_Pin, 0); //Led rojo
	}
}
/* USER CODE END Header_controlMotor2Task */
void controlMotor2Task(void *argument) {
	/* USER CODE BEGIN controlMotor2Task */
	/* Infinite loop */
	for (;;) {
		osEventFlagsWait(stepperTriggerHandle, 2, osFlagsWaitAny,
		osWaitForever);
		HAL_TIM_PWM_Start_IT(&htim11, TIM_CHANNEL_1);

		osEventFlagsClear(stepperTriggerHandle, 2);
	}
	/* USER CODE END controlMotor2Task */
}

/* USER CODE BEGIN Header_controlMotor3Task */
void funcM3() {
	HAL_GPIO_WritePin(LD3_GPIO_Port, LD3_Pin, 1); //Led rojo
	if (stepsToMakeMotor3 > 0) {
		HAL_GPIO_WritePin(Dir3_GPIO_Port, Dir3_Pin, GPIO_PIN_SET);  //Dir pos
		stepsToMakeMotor3--;
	} else if (stepsToMakeMotor3 < 0) {
		HAL_GPIO_WritePin(Dir3_GPIO_Port, Dir3_Pin, GPIO_PIN_RESET);  //Dir neg
		stepsToMakeMotor3++;
	} else {
		HAL_TIM_PWM_Stop_IT(&htim5, TIM_CHANNEL_4); // Detener el PWM
		HAL_GPIO_WritePin(LD3_GPIO_Port, LD3_Pin, 0); //Led rojo
	}
}
/* USER CODE END Header_controlMotor3Task */
void controlMotor3Task(void *argument) {
	/* USER CODE BEGIN controlMotor3Task */
	/* Infinite loop */
	for (;;) {
		osEventFlagsWait(stepperTriggerHandle, 4, osFlagsWaitAny,
		osWaitForever);
		HAL_TIM_PWM_Start_IT(&htim5, TIM_CHANNEL_4);

		osEventFlagsClear(stepperTriggerHandle, 4);
	}
	/* USER CODE END controlMotor3Task */
}

/* USER CODE BEGIN Header_controlMotor4Task */
void funcM4() {
	HAL_GPIO_WritePin(LD3_GPIO_Port, LD3_Pin, 1); //Led rojo
	if (stepsToMakeMotor4 > 0) {
		HAL_GPIO_WritePin(Dir4_GPIO_Port, Dir4_Pin, GPIO_PIN_SET);  //Dir pos
		stepsToMakeMotor4--;
	} else if (stepsToMakeMotor4 < 0) {
		HAL_GPIO_WritePin(Dir4_GPIO_Port, Dir4_Pin, GPIO_PIN_RESET);  //Dir neg
		stepsToMakeMotor4++;
	} else {
		HAL_TIM_PWM_Stop_IT(&htim3, TIM_CHANNEL_4); // Detener el PWM en el canal 4
		HAL_GPIO_WritePin(LD3_GPIO_Port, LD3_Pin, 0); //Led rojo
	}
}
/* USER CODE END Header_controlMotor4Task */
void controlMotor4Task(void *argument) {
	/* USER CODE BEGIN controlMotor4Task */

	/* Infinite loop */
	for (;;) {
		osEventFlagsWait(stepperTriggerHandle, 8, osFlagsWaitAny,
		osWaitForever);
		HAL_TIM_PWM_Start_IT(&htim3, TIM_CHANNEL_4);

		osEventFlagsClear(stepperTriggerHandle, 8);
	}
	/* USER CODE END controlMotor4Task */
}

void StartInputChangeTask(void *argument) {
	/* USER CODE BEGIN StartInputChangeTask */
	gamepadEvents gamepadEventsBuffer;

	/* Infinite loop */
	for (;;) {
		osMessageQueueGet(gamepadChangesQueueHandle, &gamepadEventsBuffer, 0,
		osWaitForever);

		switch (gamepadEventsBuffer) {
		//MOTOR4
		case GP_EVENT_LJS_PRESS_RIGHT:
			//Activar el timer del motor4
			HAL_TIM_PWM_Start_IT(&htim3, TIM_CHANNEL_4);
			HAL_GPIO_WritePin(Dir4_GPIO_Port, Dir4_Pin, GPIO_PIN_SET); //Dir pos
			break;
		case GP_EVENT_LJS_RELEASE_RIGHT:
			//Desactivar el timer del motor4
			if (currentReport.joyStickLX == 0)
				HAL_TIM_PWM_Stop_IT(&htim3, TIM_CHANNEL_4); // Detener el PWM en el canal 4
			break;
		case GP_EVENT_LJS_PRESS_LEFT:
			//Activar el timer del motor4
			HAL_TIM_PWM_Start_IT(&htim3, TIM_CHANNEL_4);
			HAL_GPIO_WritePin(Dir4_GPIO_Port, Dir4_Pin, GPIO_PIN_RESET); //Dir pos
			break;
		case GP_EVENT_LJS_RELEASE_LEFT:
			//Desactivar el timer del motor4
			if (currentReport.joyStickLX == 0)
				HAL_TIM_PWM_Stop_IT(&htim3, TIM_CHANNEL_4); // Detener el PWM en el canal 4
			break;
		case GP_EVENT_RELEASE_ZL:
			HAL_GPIO_TogglePin(Enable4_GPIO_Port, Enable4_Pin); //Conmutar motor 4 (base)
			break;

			//MOTOR2
		case GP_EVENT_RELEASE_L:
			HAL_GPIO_TogglePin(EnableMotor2_GPIO_Port, EnableMotor2_Pin); //Conmutar motor 2
			break;
		case GP_EVENT_RJS_PRESS_UP:
			HAL_TIM_PWM_Start_IT(&htim11, TIM_CHANNEL_1);
			HAL_GPIO_WritePin(Dir2_GPIO_Port, Dir2_Pin, GPIO_PIN_RESET); //Dir pos
			break;
		case GP_EVENT_RJS_RELEASE_UP:
			if (currentReport.joyStickLY == 0)
				HAL_TIM_PWM_Stop_IT(&htim11, TIM_CHANNEL_1); // Detener el PWM
			break;
		case GP_EVENT_RJS_PRESS_DOWN:
			HAL_TIM_PWM_Start_IT(&htim11, TIM_CHANNEL_1);
			HAL_GPIO_WritePin(Dir2_GPIO_Port, Dir2_Pin, GPIO_PIN_SET); //Dir neg
			break;
		case GP_EVENT_RJS_RELEASE_DOWN:
			if (currentReport.joyStickLY == 0)
				HAL_TIM_PWM_Stop_IT(&htim11, TIM_CHANNEL_1); // Detener el PWM
			break;

			//MOTOR3
		case GP_EVENT_RELEASE_R:
			HAL_GPIO_TogglePin(EnableMotor3_GPIO_Port, EnableMotor3_Pin); //Conmutar motor 3
			break;
		case GP_EVENT_DPAD_PRESS_UP:
			HAL_TIM_PWM_Start_IT(&htim5, TIM_CHANNEL_4);
			HAL_GPIO_WritePin(Dir3_GPIO_Port, Dir3_Pin, GPIO_PIN_RESET); //Dir arriba
			break;
		case GP_EVENT_DPAD_RELEASE_UP:
			if (currentReport.dir == CENTER)
				HAL_TIM_PWM_Stop_IT(&htim5, TIM_CHANNEL_4); // Detener el PWM
			break;
		case GP_EVENT_DPAD_PRESS_DOWN:
			HAL_TIM_PWM_Start_IT(&htim5, TIM_CHANNEL_4);
			HAL_GPIO_WritePin(Dir3_GPIO_Port, Dir3_Pin, GPIO_PIN_SET); //Dir abajo
			break;
		case GP_EVENT_DPAD_RELEASE_DOWN:
			if (currentReport.dir == CENTER)
				HAL_TIM_PWM_Stop_IT(&htim5, TIM_CHANNEL_4); // Detener el PWM
			break;

			//MOTOR1
		case GP_EVENT_LJS_PRESS_UP:
			//Activar el timer del motor1
			HAL_TIM_PWM_Start_IT(&htim1, TIM_CHANNEL_4);
			HAL_GPIO_WritePin(Dir1_GPIO_Port, Dir1_Pin, GPIO_PIN_SET); //Dir pos
			break;
		case GP_EVENT_LJS_RELEASE_UP:
			//Desactivar el timer del motor1
			if (currentReport.joyStickLY == 0)
				HAL_TIM_PWM_Stop_IT(&htim1, TIM_CHANNEL_4); // Detener el PWM
			break;
		case GP_EVENT_LJS_PRESS_DOWN:
			//Activar el timer del motor1
			HAL_TIM_PWM_Start_IT(&htim1, TIM_CHANNEL_4);
			HAL_GPIO_WritePin(Dir1_GPIO_Port, Dir1_Pin, GPIO_PIN_RESET); //Dir pos
			break;
		case GP_EVENT_LJS_RELEASE_DOWN:
			//Desactivar el timer del motor1
			if (currentReport.joyStickLY == 0)
				HAL_TIM_PWM_Stop_IT(&htim1, TIM_CHANNEL_4); // Detener el PWM
			break;
		case GP_EVENT_RELEASE_ZR:
			HAL_GPIO_TogglePin(EnableMotor1_GPIO_Port, EnableMotor1_Pin); //Conmutar motor 1
			break;

		case NOEVENT:
			break;
		}

	}
	/* USER CODE END StartInputChangeTask */
}

void HAL_TIM_PeriodElapsedCallback(TIM_HandleTypeDef *htim) {
	if (htim->Instance == TIM2) {
		HAL_IncTick();
	}
	/* USER CODE BEGIN Callback 1 */
	if (htim->Instance == TIM3) {
		funcM4();
	} else if (htim->Instance == TIM1) {
		funcM1();
	} else if (htim->Instance == TIM11) {
		funcM2();
	} else if (htim->Instance == TIM5) {
		funcM3();
	}
	/* USER CODE END Callback 1 */
}

void Error_Handler(void) {
	__disable_irq();
	while (1) {
	}
}
